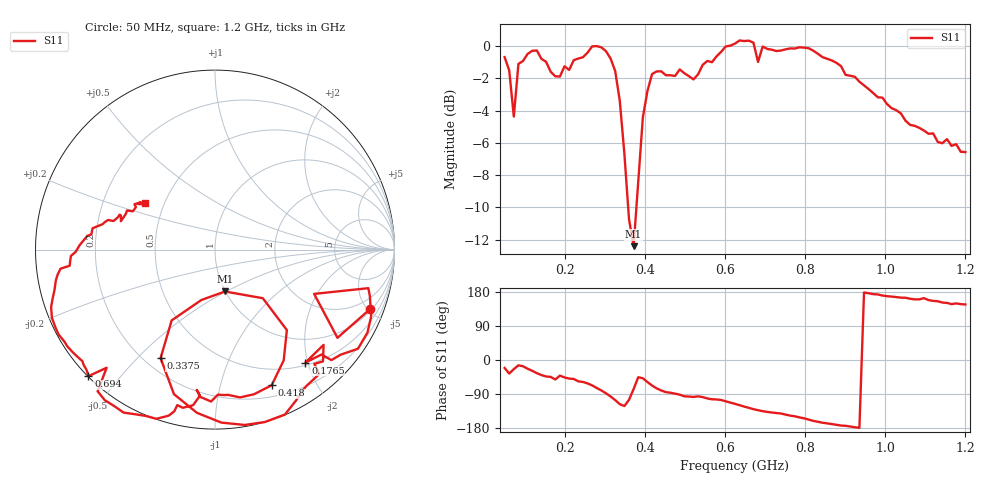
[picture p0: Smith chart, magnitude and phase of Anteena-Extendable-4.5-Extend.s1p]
# HZ S RI R 50
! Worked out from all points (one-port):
!   101 points, 50 MHz to 1.2 GHz, reference 50 ohm
!   lowest |S11| = -12.4 dB at 372 MHz (marker M1), VSWR 1.63, Z = 49.8 - j24.7 ohm
!   |S11| at or under -10 dB: 358.4 MHz to 378.9 MHz (20.5 MHz wide, 5.56 % of centre)
!   S11 on the Smith chart (normalised r, x): 50 MHz: 1.12, -5.14; 176.5 MHz: 0.54, -1.96; 337.5 MHz: 0.26, -0.59; 418 MHz: 0.32, -1.45; 694 MHz: 0.00, -0.41; 1.2 GHz: 0.39, +0.26
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5e7  0.8625 -0.3326
6.15e7  0.6823 -0.4916
7.3e7  0.5522 -0.2469
8.45e7  0.8543 -0.2148
1.075e8  0.8704 -0.3707
1.305e8  0.7964 -0.5526
1.765e8  0.5033 -0.6297
1.88e8  0.6049 -0.5308
1.995e8  0.6017 -0.6229
2.57e8  0.4513 -0.841
2.915e8  0.1658 -0.977
3.145e8  -0.1002 -0.9097
3.375e8  -0.3032 -0.6044
3.49e8  -0.2415 -0.3944
3.72e8  0.0556 -0.2334
3.95e8  0.4004 -0.4483
4.18e8  0.3158 -0.7559
4.87e8  -0.022 -0.8463
5.215e8  -0.1019 -0.7818
6.25e8  -0.4414 -0.9178
6.71e8  -0.654 -0.7894
6.825e8  -0.6036 -0.6582
6.94e8  -0.7051 -0.7051
7.745e8  -0.8386 -0.5129
8.205e8  -0.9131 -0.3204
9.125e8  -0.807 -0.0645
1.062e9  -0.5409 0.18
1.2e9  -0.3916 0.2589
